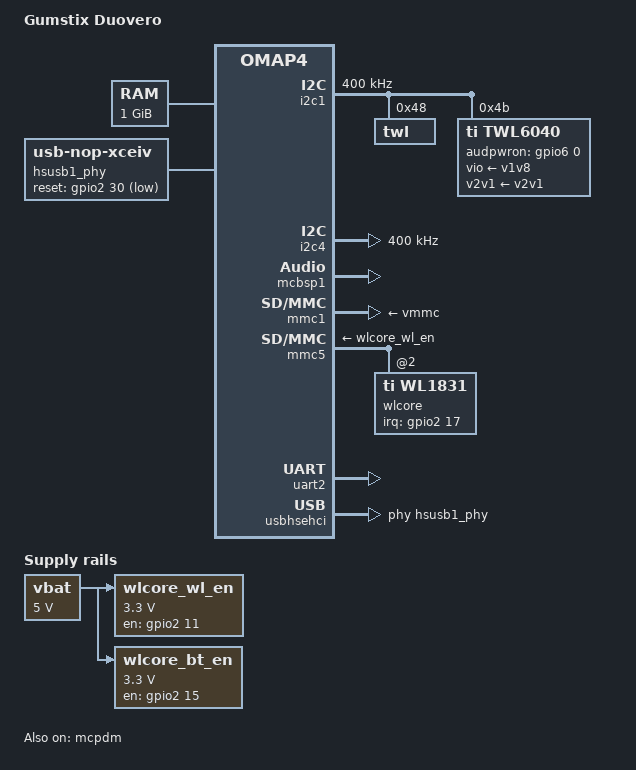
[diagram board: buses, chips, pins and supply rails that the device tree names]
/*
 * Copyright (C) 2014 Florian Vaussard, EPFL Mobots group
 *
 * This program is free software; you can redistribute it and/or modify
 * it under the terms of the GNU General Public License version 2 as
 * published by the Free Software Foundation.
 */

#include "omap443x.dtsi"

/ {
	model = "Gumstix Duovero";
	compatible = "gumstix,omap4-duovero", "ti,omap4430", "ti,omap4";

	memory {
		device_type = "memory";
		reg = <0x80000000 0x40000000>; /* 1 GB */
	};

	sound {
		compatible = "ti,abe-twl6040";
		ti,model = "DuoVero";

		ti,mclk-freq = <38400000>;

		ti,mcpdm = <&mcpdm>;

		ti,twl6040 = <&twl6040>;

		/* Audio routing */
		ti,audio-routing =
			"Headset Stereophone", "HSOL",
			"Headset Stereophone", "HSOR",
			"HSMIC", "Headset Mic",
			"Headset Mic", "Headset Mic Bias";
	};

	/* HS USB Host PHY on PORT 1 */
	hsusb1_phy: hsusb1_phy {
		compatible = "usb-nop-xceiv";
		reset-gpios = <&gpio2 30 GPIO_ACTIVE_LOW>;	/* gpio_62 */

		pinctrl-names = "default";
		pinctrl-0 = <&hsusb1phy_pins>;

		clocks = <&auxclk3_ck>;
		clock-names = "main_clk";
		clock-frequency = <19200000>;
	};

	vbat: fixedregulator@0 {
		compatible = "regulator-fixed";
	};

	wlcore_wl_en: fixedregulator@1 {
		compatible = "regulator-fixed";
	};

	wlcore_bt_en: fixedregulator@2 {
		compatible = "regulator-fixed";
	};
};

&omap4_pmx_core {
	pinctrl-names = "default";
	pinctrl-0 = <
			&twl6040_pins
			&hsusbb1_pins
	>;

	twl6040_pins: pinmux_twl6040_pins {
		pinctrl-single,pins = <
			OMAP4_IOPAD(0x166, PIN_OUTPUT | MUX_MODE3)		/* usbb2_ulpitll_nxt.gpio_160 */
			OMAP4_IOPAD(0x1a0, PIN_INPUT | MUX_MODE0)		/* sys_nirq2.sys_nirq2 */
		>;
	};

	mcpdm_pins: pinmux_mcpdm_pins {
		pinctrl-single,pins = <
			OMAP4_IOPAD(0x106, PIN_INPUT_PULLDOWN | MUX_MODE0)	/* abe_pdm_ul_data.abe_pdm_ul_data */
			OMAP4_IOPAD(0x108, PIN_INPUT_PULLDOWN | MUX_MODE0)	/* abe_pdm_dl_data.abe_pdm_dl_data */
			OMAP4_IOPAD(0x10a, PIN_INPUT_PULLUP   | MUX_MODE0)	/* abe_pdm_frame.abe_pdm_frame */
			OMAP4_IOPAD(0x10c, PIN_INPUT_PULLDOWN | MUX_MODE0)	/* abe_pdm_lb_clk.abe_pdm_lb_clk */
			OMAP4_IOPAD(0x10e, PIN_INPUT_PULLDOWN | MUX_MODE0)	/* abe_clks.abe_clks */
		>;
	};

	mcbsp1_pins: pinmux_mcbsp1_pins {
		pinctrl-single,pins = <
			OMAP4_IOPAD(0x0fe, PIN_INPUT | MUX_MODE0)		/* abe_mcbsp1_clkx.abe_mcbsp1_clkx */
			OMAP4_IOPAD(0x100, PIN_INPUT_PULLDOWN | MUX_MODE0)	/* abe_mcbsp1_dr.abe_mcbsp1_dr */
			OMAP4_IOPAD(0x102, PIN_OUTPUT_PULLDOWN | MUX_MODE0)	/* abe_mcbsp1_dx.abe_mcbsp1_dx */
			OMAP4_IOPAD(0x104, PIN_INPUT | MUX_MODE0)		/* abe_mcbsp1_fsx.abe_mcbsp1_fsx */
		>;
	};

	hsusbb1_pins: pinmux_hsusbb1_pins {
		pinctrl-single,pins = <
			OMAP4_IOPAD(0x0c2, PIN_INPUT_PULLDOWN | MUX_MODE4)	/* usbb1_ulpitll_clk.usbb1_ulpiphy_clk */
			OMAP4_IOPAD(0x0c4, PIN_OUTPUT | MUX_MODE4)		/* usbb1_ulpitll_stp.usbb1_ulpiphy_stp */
			OMAP4_IOPAD(0x0c6, PIN_INPUT_PULLDOWN | MUX_MODE4)	/* usbb1_ulpitll_dir.usbb1_ulpiphy_dir */
			OMAP4_IOPAD(0x0c8, PIN_INPUT_PULLDOWN | MUX_MODE4)	/* usbb1_ulpitll_nxt.usbb1_ulpiphy_nxt */
			OMAP4_IOPAD(0x0ca, PIN_INPUT_PULLDOWN | MUX_MODE4)	/* usbb1_ulpitll_dat0.usbb1_ulpiphy_dat0 */
			OMAP4_IOPAD(0x0cc, PIN_INPUT_PULLDOWN | MUX_MODE4)	/* usbb1_ulpitll_dat1.usbb1_ulpiphy_dat1 */
			OMAP4_IOPAD(0x0ce, PIN_INPUT_PULLDOWN | MUX_MODE4)	/* usbb1_ulpitll_dat2.usbb1_ulpiphy_dat2 */
			OMAP4_IOPAD(0x0d0, PIN_INPUT_PULLDOWN | MUX_MODE4)	/* usbb1_ulpitll_dat3.usbb1_ulpiphy_dat3 */
			OMAP4_IOPAD(0x0d2, PIN_INPUT_PULLDOWN | MUX_MODE4)	/* usbb1_ulpitll_dat4.usbb1_ulpiphy_dat4 */
			OMAP4_IOPAD(0x0d4, PIN_INPUT_PULLDOWN | MUX_MODE4)	/* usbb1_ulpitll_dat5.usbb1_ulpiphy_dat5 */
			OMAP4_IOPAD(0x0d6, PIN_INPUT_PULLDOWN | MUX_MODE4)	/* usbb1_ulpitll_dat6.usbb1_ulpiphy_dat6 */
			OMAP4_IOPAD(0x0d8, PIN_INPUT_PULLDOWN | MUX_MODE4)	/* usbb1_ulpitll_dat7.usbb1_ulpiphy_dat7 */
		>;
	};

	hsusb1phy_pins: pinmux_hsusb1phy_pins {
		pinctrl-single,pins = <
			OMAP4_IOPAD(0x08c, PIN_OUTPUT | MUX_MODE3)		/* gpmc_wait1.gpio_62 */
		>;
	};

	w2cbw0015_pins: pinmux_w2cbw0015_pins {
		pinctrl-single,pins = <
			OMAP4_IOPAD(0x066, PIN_OUTPUT | MUX_MODE3)		/* gpmc_a19.gpio_43 */
			OMAP4_IOPAD(0x07a, PIN_INPUT | MUX_MODE3)		/* gpmc_ncs3.gpio_53 */
		>;
	};

	i2c1_pins: pinmux_i2c1_pins {
		pinctrl-single,pins = <
			OMAP4_IOPAD(0x122, PIN_INPUT_PULLUP | MUX_MODE0)	/* i2c1_scl */
			OMAP4_IOPAD(0x124, PIN_INPUT_PULLUP | MUX_MODE0)	/* i2c1_sda */
		>;
	};

	i2c4_pins: pinmux_i2c4_pins {
		pinctrl-single,pins = <
			OMAP4_IOPAD(0x12e, PIN_INPUT_PULLUP | MUX_MODE0)	/* i2c4_scl */
			OMAP4_IOPAD(0x130, PIN_INPUT_PULLUP | MUX_MODE0)	/* i2c4_sda */
		>;
	};

	mmc1_pins: pinmux_mmc1_pins {
		pinctrl-single,pins = <
			OMAP4_IOPAD(0x0e2, PIN_INPUT_PULLUP | MUX_MODE0)	/* sdmmc1_clk */
			OMAP4_IOPAD(0x0e4, PIN_INPUT_PULLUP | MUX_MODE0)	/* sdmcc1_cmd */
			OMAP4_IOPAD(0x0e6, PIN_INPUT_PULLUP | MUX_MODE0)	/* sdmcc1_dat0 */
			OMAP4_IOPAD(0x0e8, PIN_INPUT_PULLUP | MUX_MODE0)	/* sdmmc1_dat1 */
			OMAP4_IOPAD(0x0ea, PIN_INPUT_PULLUP | MUX_MODE0)	/* sdmmc1_dat2 */
			OMAP4_IOPAD(0x0ec, PIN_INPUT_PULLUP | MUX_MODE0)	/* sdmmc1_dat3 */
		>;
	};

	mmc5_pins: pinmux_mmc5_pins {
		pinctrl-single,pins = <
			OMAP4_IOPAD(0x148, PIN_INPUT_PULLUP | MUX_MODE0)	/* sdmmc5_clk */
			OMAP4_IOPAD(0x14a, PIN_INPUT_PULLUP | MUX_MODE0)	/* sdmcc5_cmd */
			OMAP4_IOPAD(0x14c, PIN_INPUT_PULLUP | MUX_MODE0)	/* sdmcc5_dat0 */
			OMAP4_IOPAD(0x14e, PIN_INPUT_PULLUP | MUX_MODE0)	/* sdmmc5_dat1 */
			OMAP4_IOPAD(0x150, PIN_INPUT_PULLUP | MUX_MODE0)	/* sdmmc5_dat2 */
			OMAP4_IOPAD(0x152, PIN_INPUT_PULLUP | MUX_MODE0)	/* sdmmc5_dat3 */
			OMAP4_IOPAD(0x066, PIN_OUTPUT_PULLUP | MUX_MODE3)	/* gpio_43 */
			OMAP4_IOPAD(0x06e, PIN_OUTPUT_PULLUP | MUX_MODE3)	/* gpio_47 */
			OMAP4_IOPAD(0x072, PIN_INPUT | MUX_MODE3)			/* gpio_49 */
		>;
	};
	uart2_pins: pinmux_uart2 {
		pinctrl-single,pins = <
			OMAP4_IOPAD(0x118, PIN_INPUT_PULLUP | MUX_MODE0)    /* uart2_cts.uart2_cts */
			OMAP4_IOPAD(0x11a, PIN_OUTPUT_PULLDOWN | MUX_MODE0) /* uart2_rts.uart2_rts */
			OMAP4_IOPAD(0x11c, PIN_INPUT_PULLUP | MUX_MODE0)    /* uart2_rx.uart2_rx */
			OMAP4_IOPAD(0x11e, PIN_OUTPUT_PULLDOWN | MUX_MODE0) /* uart2_tx.uart2_tx */
		>;
	};
};

/* PMIC */
&i2c1 {
	pinctrl-names = "default";
	pinctrl-0 = <&i2c1_pins>;

	clock-frequency = <400000>;

	twl: twl@48 {
		reg = <0x48>;
		interrupts = <GIC_SPI 7 IRQ_TYPE_LEVEL_HIGH>;		/* IRQ_SYS_1N cascaded to gic */
	};

	twl6040: twl@4b {
		compatible = "ti,twl6040";
		reg = <0x4b>;
		interrupts = <GIC_SPI 119 IRQ_TYPE_LEVEL_HIGH>;		/* IRQ_SYS_2N cascaded to gic */
		ti,audpwron-gpio = <&gpio6 0 GPIO_ACTIVE_HIGH>;		/* gpio_160 */

		vio-supply = <&v1v8>;
		v2v1-supply = <&v2v1>;
		enable-active-high;
	};
};

#include "twl6030.dtsi"
#include "twl6030_omap4.dtsi"

&i2c4 {
	pinctrl-names = "default";
	pinctrl-0 = <&i2c4_pins>;

	clock-frequency = <400000>;
};

&mcbsp1 {
	pinctrl-names = "default";
	pinctrl-0 = <&mcbsp1_pins>;
	status = "okay";
};

&mcpdm {
	pinctrl-names = "default";
	pinctrl-0 = <&mcpdm_pins>;
	status = "okay";
};

&mmc1 {
	pinctrl-names = "default";
	pinctrl-0 = <&mmc1_pins>;

	vmmc-supply = <&vmmc>;
	ti,bus-width = <4>;
	ti,non-removable;		/* FIXME: use PMIC_MMC detect */
};

&mmc2 {
	status = "disabled";
};

/* mmc3 is available to the expansion board */

&mmc4 {
	status = "disabled";
};

/* on-board WiFi module */
&vbat {
	regulator-name = "vbat";
	regulator-min-microvolt = <5000000>;
	regulator-max-microvolt = <5000000>;
};

&wlcore_wl_en {
        regulator-name = "regulator-wlcore-wl-en";
        regulator-min-microvolt = <3300000>;
        regulator-max-microvolt = <3300000>;
        vin-supply = <&vbat>;
        gpio = <&gpio2 11 0>;   /* gpio_43: WL Enable */
        /* WLAN card specific delay */
        startup-delay-us = <70000>;
        enable-active-high;
};

&wlcore_bt_en {
        regulator-name = "regulator-wlcore-bt-en";
        regulator-min-microvolt = <3300000>;
        regulator-max-microvolt = <3300000>;
        vin-supply = <&vbat>;
        gpio = <&gpio2 15 0>;	/* gpio_47: BT Enable */
        startup-delay-us = <70000>;
        enable-active-high;
};

&mmc5 {
	/* Wifi & Bluetooth on MMC #5 */
	status = "okay";
	pinctrl-names = "default";
	pinctrl-0 = <&mmc5_pins>;
	ti,bus-width = <4>;
	vmmc-supply = <&wlcore_wl_en>;
	vmmc_aux-supply = <&wlcore_bt_en>;
	ti,non-removable;
	ti,needs-special-hs-handling;
	cap-power-off-card;
	keep-power-in-suspend;
	ti,dual-volt;
	max-frequency = <40000000>;
	#address-cells = <1>;
	#size-cells = <0>;

	wlcore: wlcore@0 {
		compatible = "ti,wl1831";
		reg = <2>;
		interrupt-parent = <&gpio2>;
		interrupts = <17 IRQ_TYPE_LEVEL_HIGH>;
	};
};

&uart2 {
	/* Wilink8 Bluetooth */
	status = "okay";
	pinctrl-names = "default";
	pinctrl-0 = <&uart2_pins>;
};

&twl_usb_comparator {
	usb-supply = <&vusb>;
};

&usb_otg_hs {
	interface-type = <1>;
	mode = <3>;
	power = <50>;
};

&usbhshost {
	port1-mode = "ehci-phy";
};

&usbhsehci {
	phys = <&hsusb1_phy>;
};

